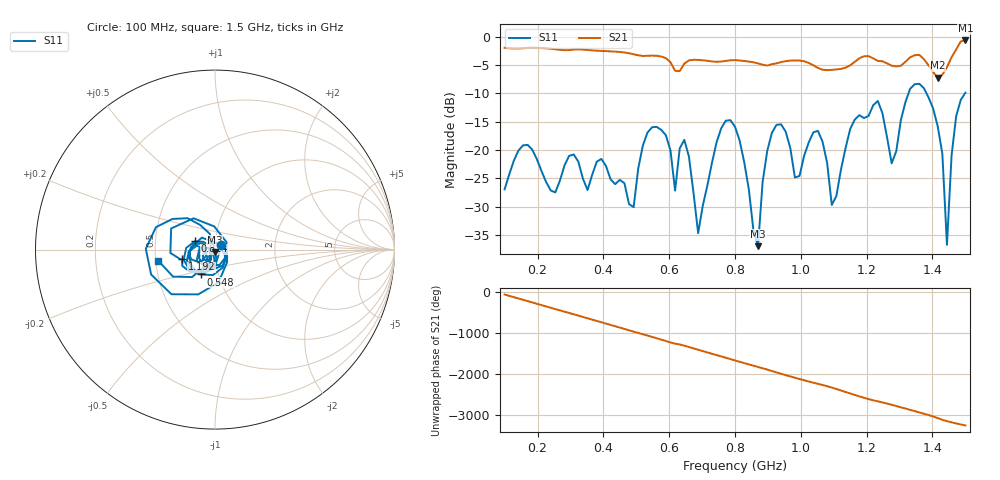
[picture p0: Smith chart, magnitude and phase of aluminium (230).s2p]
! NanoVNA-App
! Date: 2025-09-25 14:57:04
! Start: 100MHz Stop: 1,5GHz Points: 101
! S-Parameter data: F S11 S21 S12 S22
# Hz S RI R 50
!  Frequency  S11_Real  S11_Imag  S21_Real  S21_Imag  S12_Real  S12_Imag  S22_Real  S22_Imag
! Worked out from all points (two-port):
!   101 points, 100 MHz to 1.5 GHz, reference 50 ohm
!   highest |S21| = -0.61 dB at 1.5 GHz (marker M1); lowest = -7.2 dB at 1.416 GHz (marker M2)
!   |S21| within 3 dB of the highest: start of sweep to 583.9 MHz; 1.458 GHz to end of sweep (the widest 2 of 4)
!   lowest |S11| = -37.0 dB at 870 MHz (marker M3), VSWR 1.03, Z = 49.9 - j1.4 ohm
!   |S11| at or under -10 dB: start of sweep to 1.327 GHz; 1.382 GHz to 1.498 GHz (116.4 MHz wide, 8.08 % of centre)
!   S12 and S22 are empty: the file has one direction only
!   S11 on the Smith chart (normalised r, x): 100 MHz: 1.07, +0.06; 548 MHz: 0.82, -0.23; 814 MHz: 0.79, +0.07; 1.192 GHz: 0.69, -0.08; 1.5 GHz: 0.52, -0.07
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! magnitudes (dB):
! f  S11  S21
! 100 MHz  -27.0  -1.9
! 338 MHz  -25.1  -2.2
! 492 MHz  -30.1  -3.1
! 548 MHz  -16.0  -3.3
! 576 MHz  -16.4  -3.5
! 618 MHz  -27.2  -6.0
! 646 MHz  -18.2  -4.7
! 688 MHz  -34.7  -4.1
! 800 MHz  -15.9  -4.1
! 814 MHz  -18.3  -4.2
! 870 MHz  -37.0  -4.7
! 912 MHz  -17.0  -4.8
! 982 MHz  -24.9  -4.2
! 1.038 GHz  -16.9  -5.0
! 1.094 GHz  -29.7  -5.8
! 1.192 GHz  -14.4  -3.4
! 1.276 GHz  -22.4  -5.1
! 1.346 GHz  -8.4  -3.2
! 1.416 GHz  -15.8  -7.2
! 1.444 GHz  -36.8  -5.3
! 1.472 GHz  -14.0  -2.2
! 1.5 GHz  -9.9  -0.6
